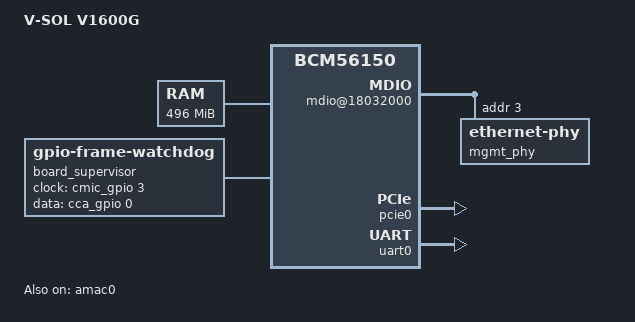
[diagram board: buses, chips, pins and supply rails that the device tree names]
// SPDX-License-Identifier: GPL-2.0-or-later OR MIT
/*
 * V-SOL V1600G GPON OLT: Broadcom Hurricane2 BCM56150 host, 512 MiB DDR3 at 0x60000000.
 * Facts from its stock 1.9.7R: U-Boot "DRAM: 512 MiB", kernel "mem=496M", console = the UART at 0x18000300.
 */
/dts-v1/;

#include <dt-bindings/gpio/gpio.h>
#include "bcm-hr2.dtsi"

/ {
	compatible = "vsol,v1600g", "brcm,bcm56150", "brcm,hr2";
	model = "V-SOL V1600G";

	aliases {
		serial0 = &uart0;
	};

	chosen {
		bootargs = "earlycon";
		stdout-path = "serial0:115200n8";
	};

	memory@60000000 {
		device_type = "memory";
		reg = <0x60000000 0x1f000000>;
	};

	/* ChipcommonA GPIO: the stock kernel's lines 4-15; its interrupt is ChipcommonA's, shared with the UARTs */
	cca_gpio: gpio@18000060 {
		compatible = "brcm,iproc-gpio-cca";
		reg = <0x18000060 0x50>, <0x18000000 0x50>;
		gpio-controller;
		#gpio-cells = <2>;
		ngpios = <12>;
		interrupt-controller;
		#interrupt-cells = <2>;
		interrupts = <GIC_SPI 91 IRQ_TYPE_LEVEL_HIGH>;
	};

	/* the switch core's CMICd: its init replays the stock firmware's (its GPIO words below belong to cmic_gpio) */
	switch@48000000 {
		compatible = "brcm,bcm56150-switch";
		reg = <0x48000000 0x40000>;
	};

	/* the switch core's CMICd GPIO, the stock kernel's lines 0-3: input, output and output-enable words, no IRQ */
	cmic_gpio: gpio@48002000 {
		compatible = "brcm,bcm6345-gpio";
		reg = <0x48002000 4>, <0x48002004 4>, <0x48002008 4>;
		reg-names = "dat", "set", "dirout";
		gpio-controller;
		#gpio-cells = <2>;
	};

	/* ChipcommonB MII management, external pins: the management RJ45's PHY at address 3 (ID 0x001cc816, RTL8201F) */
	mdio@18032000 {
		compatible = "brcm,iproc-mdio";
		reg = <0x18032000 0x8>;
		brcm,external-bus;
		#address-cells = <1>;
		#size-cells = <0>;

		mgmt_phy: ethernet-phy@3 {
			reg = <3>;
		};
	};

	/*
	 * The board supervisor (stock: userWtd through vs_gpio_cfg lines 3 and 4): resets the board about 11 min after
	 * power-on unless fed. A 26-bit frame: bits 0-7 = 0xa5, bit 16 feeds (cleared: a reset within ~5 s), bits 18-25
	 * disable the laser of PON 1-8 (PON 1 = bit 18 measured; 2-8 by order, INFERRED: bit 25 is not PON 1), bit 17
	 * set by stock, 8-15 unknown. From probe: fed, every laser off (stock's boot words, without their 8-15 pattern).
	 */
	board_supervisor: board-watchdog {
		compatible = "gpio-frame-watchdog";
		clock-gpios = <&cmic_gpio 3 GPIO_ACTIVE_HIGH>;
		data-gpios = <&cca_gpio 0 GPIO_ACTIVE_HIGH>;
		frame-bits = <26>;
		frame-boot = <0x3ff00a5>;
		frame-fixed = <0x100ff>;
		gpio-controller;
		#gpio-cells = <2>;
		gpio-line-names = "", "", "", "", "", "", "", "", "", "", "", "", "", "", "", "", "watchdog-feed", "",
				  "pon1-tx-disable", "pon2-tx-disable", "pon3-tx-disable", "pon4-tx-disable",
				  "pon5-tx-disable", "pon6-tx-disable", "pon7-tx-disable", "pon8-tx-disable";
	};
};

/* the management RJ45 (U-Boot's GMAC0) */
&amac0 {
	phy-handle = <&mgmt_phy>;
	phy-mode = "mii";
	status = "okay";
};

/* the ZX279200 PON MAC (1556:5555, BAR0 decodes 256 MiB); the stock kernel's window: CPU 0x08000000 = bus 0x40000000 */
&pcie0 {
	compatible = "brcm,iproc-hr2-pcie";
	ranges = <0x82000000 0 0x40000000 0x08000000 0 0x08000000>;
	status = "okay";

	pcie@0,0 {
		device_type = "pci";
		reg = <0x0000 0 0 0 0>;
		#address-cells = <3>;
		#size-cells = <2>;
		ranges;

		/* the PON MAC's links 0-7 = PON 1-8 */
		pon@0,0 {
			reg = <0x10000 0 0 0 0>;
			tx-disable-gpios = <&board_supervisor 18 GPIO_ACTIVE_HIGH>, <&board_supervisor 19 GPIO_ACTIVE_HIGH>,
					   <&board_supervisor 20 GPIO_ACTIVE_HIGH>, <&board_supervisor 21 GPIO_ACTIVE_HIGH>,
					   <&board_supervisor 22 GPIO_ACTIVE_HIGH>, <&board_supervisor 23 GPIO_ACTIVE_HIGH>,
					   <&board_supervisor 24 GPIO_ACTIVE_HIGH>, <&board_supervisor 25 GPIO_ACTIVE_HIGH>;
		};
	};
};

/* the UART runs on the 100 MHz APB clock: the unit's U-Boot divisor is 54 at 115200 */
&uart0 {
	clock-frequency = <100000000>;
	status = "okay";
};
